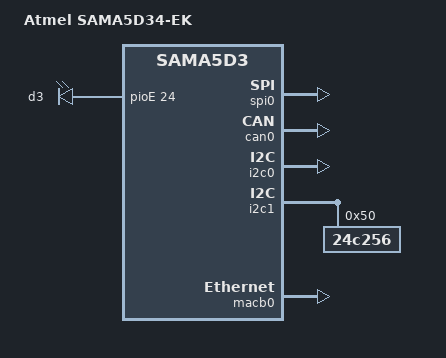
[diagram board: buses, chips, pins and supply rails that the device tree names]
/*
 * sama5d34ek.dts - Device Tree file for SAMA5-EK board
 *
 *  Copyright (C) 2012 Atmel,
 *                2012 Ludovic Desroches <ludovic.desroches@atmel.com>
 *
 * Licensed under GPLv2 or later.
 */
/dts-v1/;
/include/ "sama5d3mb.dtsi"
/include/ "sama5d3dm.dtsi"

/ {
	model = "Atmel SAMA5D34-EK";
	compatible = "atmel,sama5d34ek", "atmel,sama5ek", "atmel,sama5d3", "atmel,sama5";

	chosen {
		bootargs = "console=ttyS0,115200 mtdparts=atmel_nand:8M(bootstrap/uboot/kernel)ro,-(rootfs) rw rootfstype=ubifs ubi.mtd=1 root=ubi0:rootfs";
	};

	ahb {
		apb {
			spi0: spi@f0004000 {
				status = "okay";
			};

			ssc0: ssc@f0008000 {
				status = "okay";
			};

			can0: can@f000c000 {
				status = "okay";
			};

			i2c0: i2c@f0014000 {
				status = "okay";
			};

			i2c1: i2c@f0018000 {
				status = "okay";

				24c256@50 {
					compatible = "24c256";
					reg = <0x50>;
					pagesize = <64>;
				};
			};

			macb0: ethernet@f0028000 {
				status = "okay";
			};
		};
	};

	leds {
		d3 {
			label = "d3";
			gpios = <&pioE 24 0>;
		};
	};

	sound {
		status = "okay";
	};
};

/* Uncomment following line will enable ISI support */
/* /include/ "sama5d3mb_isi.dtsi" */
